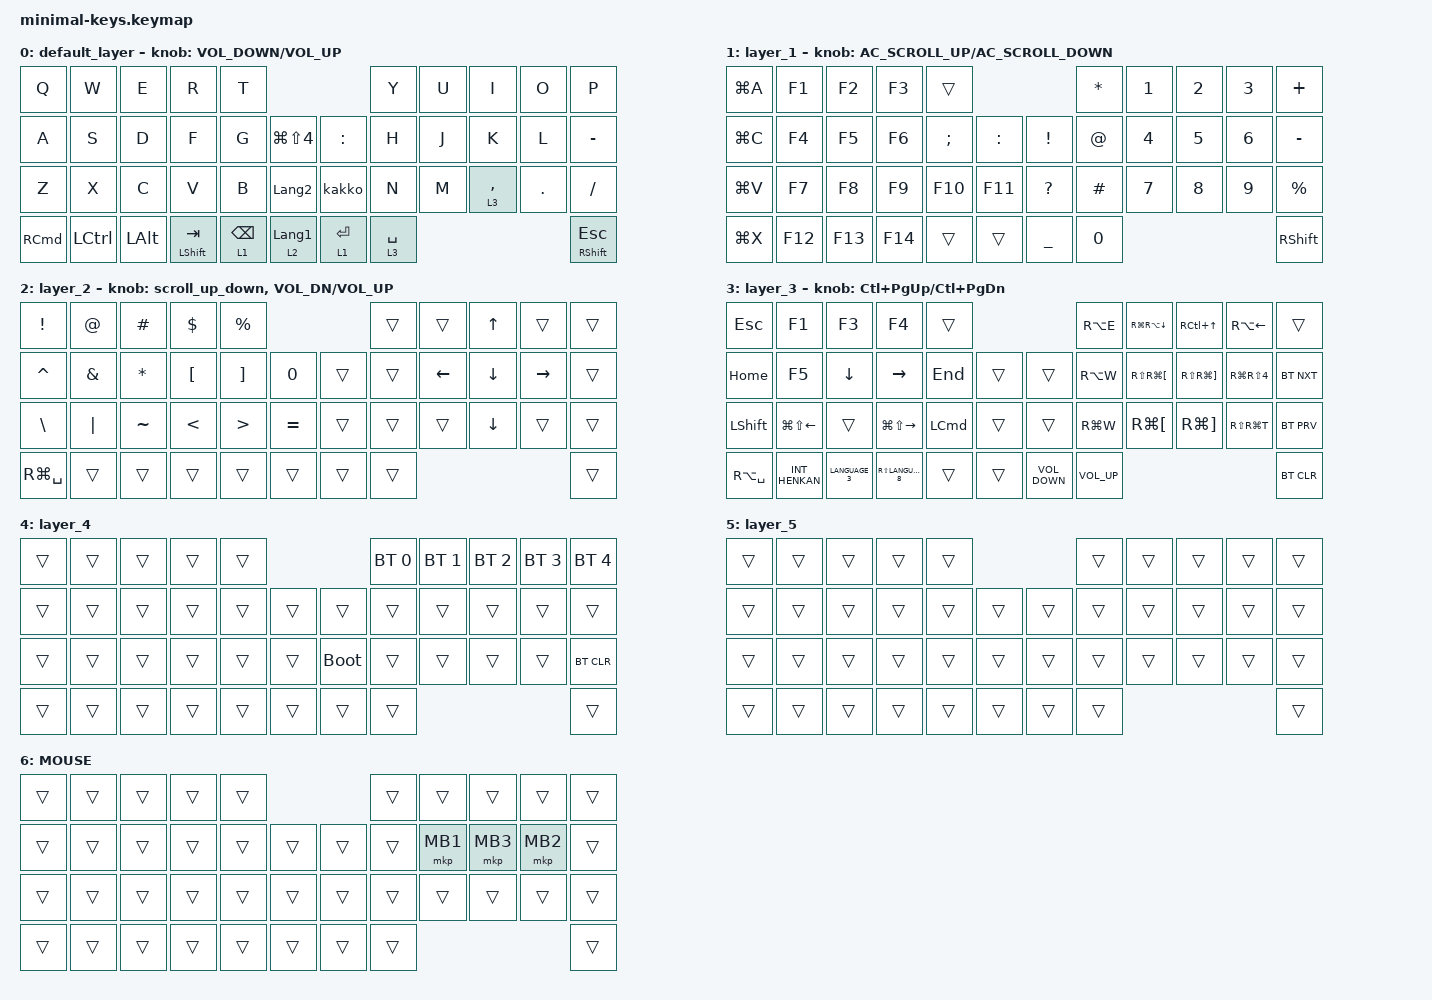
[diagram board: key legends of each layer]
#include <behaviors.dtsi>
#include <dt-bindings/zmk/bt.h>
#include <dt-bindings/zmk/keys.h>
#include <dt-bindings/zmk/pointing.h>

#undef ZMK_POINTING_DEFAULT_SCRL_VAL

#define ZMK_POINTING_DEFAULT_SCRL_VAL 100
#define MOUSE 6

&mt {
    flavor = "balanced";
    quick-tap-ms = <0>;
};

/ {
    combos {
        compatible = "zmk,combos";

        lclk {
            bindings = <&mkp LCLK>;
            key-positions = <18 19>;
        };

        rclk {
            bindings = <&mkp RCLK>;
            key-positions = <20 19>;
        };

        mclk {
            bindings = <&mkp MCLK>;
            key-positions = <18 20>;
        };

        escape {
            bindings = <&kp ESCAPE>;
            key-positions = <0 1>;
        };

        tab {
            bindings = <&kp TAB>;
            key-positions = <10 11>;
        };

        shift {
            bindings = <&kp LEFT_SHIFT>;
            key-positions = <22 23>;
        };

        bs {
            bindings = <&kp BACKSPACE>;
            key-positions = <8 9>;
        };

        enter {
            bindings = <&kp ENTER>;
            key-positions = <21 20>;
        };

        bootloader {
            bindings = <&bootloader>;
            key-positions = <5 9>;
        };

        lbootloadeer {
            bindings = <&bootloader>;
            key-positions = <1 4>;
        };
    };

    macros {
        to_layer_0: to_layer_0 {
            compatible = "zmk,behavior-macro-one-param";
            #binding-cells = <1>;
            bindings = <&to 0 &macro_param_1to1 &kp MACRO_PLACEHOLDER>;
            label = "TO_LAYER_0";
        };

        kakko: kakko {
            compatible = "zmk,behavior-macro";
            #binding-cells = <0>;
            bindings = <&kp LANG1 &kp LEFT_PARENTHESIS &kp RIGHT_PARENTHESIS &kp LEFT>;
            label = "KAKKO";
        };
    };

    behaviors {
        lt_to_layer_0: lt_to_layer_0 {
            compatible = "zmk,behavior-hold-tap";
            label = "LAYER_TAP_TO_0";
            bindings = <&mo>, <&to_layer_0>;

            #binding-cells = <2>;
            tapping-term-ms = <200>;
        };

        scroll_up_down: behavior_sensor_rotate_mouse_wheel_up_down {
            compatible = "zmk,behavior-sensor-rotate";
            #sensor-binding-cells = <0>;
            bindings = <&msc SCRL_UP>, <&msc SCRL_DOWN>;

            tap-ms = <20>;
        };

        scroll: scroll {
            compatible = "zmk,behavior-sensor-rotate";
            label = "SCROLL";
            #sensor-binding-cells = <0>;
            bindings = <&msc SCRL_DOWN>, <&msc SCRL_UP>;
        };
    };

    keymap {
        compatible = "zmk,keymap";

        default_layer {
            bindings = <
&kp Q     &kp W             &kp E         &kp R               &kp T                                             &kp Y        &kp U  &kp I        &kp O    &kp P
&kp A     &kp S             &kp D         &kp F               &kp G            &kp LG(LS(N4))      &kp COLON    &kp H        &kp J  &kp K        &kp L    &kp MINUS
&kp Z     &kp X             &kp C         &kp V               &kp B            &kp LANGUAGE_2      &kakko       &kp N        &kp M  &lt 3 COMMA  &kp DOT  &kp SLASH
&kp RCMD  &kp LEFT_CONTROL  &kp LEFT_ALT  &mt LEFT_SHIFT TAB  &lt 1 BACKSPACE  &lt 2 LANGUAGE_1    &lt 1 ENTER  &lt 3 SPACE                               &mt RIGHT_SHIFT ESC
            >;

            sensor-bindings = <&inc_dec_kp C_VOLUME_DOWN C_VOLUME_UP>;
        };

        layer_1 {
            bindings = <
&kp LG(A)  &kp F1   &kp F2   &kp F3   &trans                                 &kp ASTRK  &kp N1  &kp N2  &kp N3  &kp PLUS
&kp LG(C)  &kp F4   &kp F5   &kp F6   &kp SEMICOLON  &kp COLON    &kp EXCL   &kp AT     &kp N4  &kp N5  &kp N6  &kp MINUS
&kp LG(V)  &kp F7   &kp F8   &kp F9   &kp F10        &kp F11      &kp QMARK  &kp HASH   &kp N7  &kp N8  &kp N9  &kp PERCENT
&kp LG(X)  &kp F12  &kp F13  &kp F14  &trans         &trans       &kp UNDER  &kp N0                             &kp RIGHT_SHIFT
            >;

            sensor-bindings = <&inc_dec_kp C_AC_SCROLL_UP C_AC_SCROLL_DOWN>;
        };

        layer_2 {
            bindings = <
&kp EXCL       &kp AT    &kp HASH   &kp DOLLAR        &kp PERCENT                                &trans  &trans          &kp UP_ARROW    &trans           &trans
&kp CARET      &kp AMPS  &kp STAR   &kp LEFT_BRACKET  &kp RIGHT_BRACKET  &kp NUMBER_0    &trans  &trans  &kp LEFT_ARROW  &kp DOWN_ARROW  &kp RIGHT_ARROW  &trans
&kp BACKSLASH  &kp PIPE  &kp TILDE  &kp LESS_THAN     &kp GREATER_THAN   &kp EQUAL       &trans  &trans  &trans          &kp DOWN        &trans           &trans
&kp RG(SPACE)  &trans    &trans     &trans            &trans             &trans          &trans  &trans                                                   &trans
            >;

            sensor-bindings =
                <&scroll_up_down>,
                <&inc_dec_kp C_VOL_DN C_VOL_UP>;
        };

        layer_3 {
            bindings = <
&kp ESCAPE      &kp F1                  &kp F3          &kp F4                   &trans                                         &kp RA(E)        &kp RG(RA(DOWN_ARROW))    &kp RC(UP_ARROW)           &kp RA(LEFT_ARROW)    &trans
&kp HOME        &kp F5                  &kp DOWN_ARROW  &kp RIGHT_ARROW          &kp END           &trans    &trans             &kp RA(W)        &kp RS(RG(LEFT_BRACKET))  &kp RS(RG(RIGHT_BRACKET))  &kp RG(RS(NUMBER_4))  &bt BT_NXT
&kp LEFT_SHIFT  &kp LG(LS(LEFT_ARROW))  &trans          &kp LG(LS(RIGHT_ARROW))  &kp LEFT_COMMAND  &trans    &trans             &kp RG(W)        &kp RG(LEFT_BRACKET)      &kp RG(RIGHT_BRACKET)      &kp RS(RG(T))         &bt BT_PRV
&kp RA(SPACE)   &kp INT_HENKAN          &kp LANGUAGE_3  &kp RS(LANGUAGE_8)       &trans            &trans    &kp C_VOLUME_DOWN  &kp C_VOLUME_UP                                                                             &bt BT_CLR
            >;

            sensor-bindings = <&inc_dec_kp LC(PAGE_UP) LC(PAGE_DOWN)>;
        };

        layer_4 {
            bindings = <
&trans  &trans  &trans  &trans  &trans                         &bt BT_SEL 0  &bt BT_SEL 1  &bt BT_SEL 2  &bt BT_SEL 3  &bt BT_SEL 4
&trans  &trans  &trans  &trans  &trans  &trans    &trans       &trans        &trans        &trans        &trans        &trans
&trans  &trans  &trans  &trans  &trans  &trans    &bootloader  &trans        &trans        &trans        &trans        &bt BT_CLR
&trans  &trans  &trans  &trans  &trans  &trans    &trans       &trans                                                  &trans
            >;
        };

        layer_5 {
            bindings = <
&trans  &trans  &trans  &trans  &trans                    &trans  &trans  &trans  &trans  &trans
&trans  &trans  &trans  &trans  &trans  &trans    &trans  &trans  &trans  &trans  &trans  &trans
&trans  &trans  &trans  &trans  &trans  &trans    &trans  &trans  &trans  &trans  &trans  &trans
&trans  &trans  &trans  &trans  &trans  &trans    &trans  &trans                          &trans
            >;
        };

        MOUSE {
            bindings = <
&trans  &trans  &trans  &trans  &trans                    &trans  &trans    &trans    &trans    &trans
&trans  &trans  &trans  &trans  &trans  &trans    &trans  &trans  &mkp MB1  &mkp MB3  &mkp MB2  &trans
&trans  &trans  &trans  &trans  &trans  &trans    &trans  &trans  &trans    &trans    &trans    &trans
&trans  &trans  &trans  &trans  &trans  &trans    &trans  &trans                                &trans
            >;
        };
    };
};
